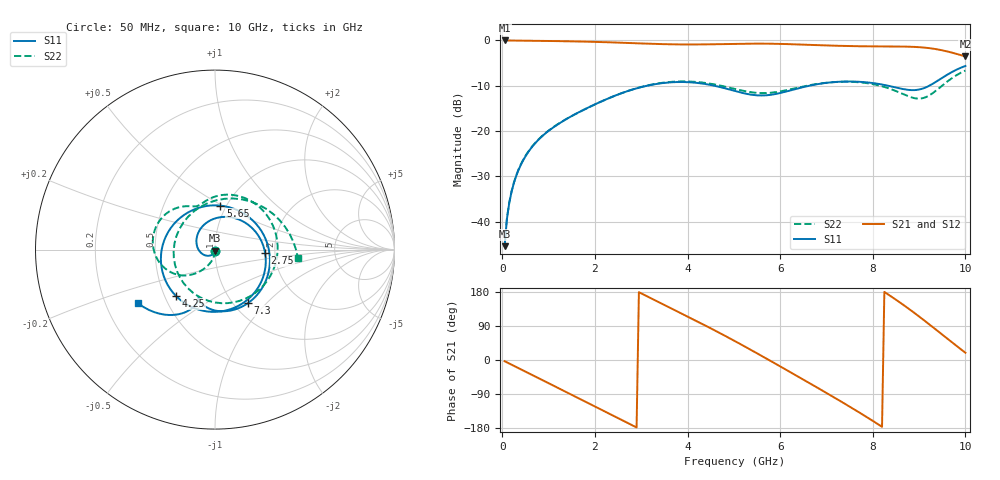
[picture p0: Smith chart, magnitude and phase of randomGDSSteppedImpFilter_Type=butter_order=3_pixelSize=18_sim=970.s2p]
! freq	dB(S11)	phase(S11)	dB(S12)	phase(S12)
!  dB(S21)	phase(S21)	dB(S22)	phase(S22)
!S-par simulation data
#  GHz  S  DB  R 50
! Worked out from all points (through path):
!   200 points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, 50 MHz to 10 GHz, reference 50 ohm
!   highest |S21| = -0.01 dB at 50 MHz (marker M1); lowest = -3.5 dB at 10 GHz (marker M2)
!   group delay of S21, straight-line fit = 189 ps
!   lowest |S11| = -45.4 dB at 50 MHz (marker M3), VSWR 1.01, Z = 50 - j0.534 ohm
!   |S11| at or under -10 dB: start of sweep to 3.129 GHz; 4.575 GHz to 6.632 GHz (2.057 GHz wide, 36.7 % of centre); 8.327 GHz to 9.221 GHz (894.1 MHz wide, 10.2 % of centre)
!   |S22| runs from -45.4 to -6.7 dB; largest |S21 - S12| = 0
!   S11 on the Smith chart (normalised r, x): 50 MHz: 1.00, -0.01; 2.75 GHz: 1.77, -0.08; 4.25 GHz: 0.57, -0.33; 5.65 GHz: 0.94, +0.49; 7.3 GHz: 1.16, -0.79; 10 GHz: 0.34, -0.28
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0.05  -45.44 -90.7  -0.01 -3.1  -0.01 -3.1  -45.36 -87.0
0.1  -39.43 -97.7  -0.01 -6.2  -0.01 -6.2  -39.31 -90.3
0.2  -33.43 -108.5  -0.02 -12.3  -0.02 -12.3  -33.31 -94.2
0.45  -26.49 -133.7  -0.05 -27.6  -0.05 -27.6  -26.40 -101.7
1.15  -18.87 155.4  -0.14 -70.4  -0.14 -70.4  -18.82 -118.0
1.75  -15.36 93.0  -0.26 -107.2  -0.26 -107.2  -15.37 -129.1
2.3  -12.76 37.7  -0.41 -141.1  -0.41 -141.1  -12.77 -141.2
2.75  -11.05 -4.3  -0.57 -168.8  -0.57 -168.8  -11.03 -154.2
3.4  -9.51 -60.0  -0.80 151.5  -0.80 151.5  -9.43 -177.1
4.25  -9.43 -130.1  -0.89 99.4  -0.89 99.4  -9.23 149.8
4.65  -10.17 -165.8  -0.83 74.1  -0.83 74.1  -9.85 135.3
5.05  -11.24 153.8  -0.75 48.1  -0.75 48.1  -10.78 123.2
5.65  -12.15 82.9  -0.71 7.4  -0.71 7.4  -11.63 110.8
6.15  -11.23 26.7  -0.81 -27.3  -0.81 -27.3  -10.95 96.8
6.7  -9.86 -20.5  -1.00 -65.7  -1.00 -65.7  -9.77 67.8
7.3  -9.12 -58.2  -1.20 -108.4  -1.20 -108.4  -9.14 21.8
7.85  -9.24 -84.5  -1.30 -149.1  -1.30 -149.1  -9.40 -30.9
8.35  -10.05 -102.3  -1.33 171.6  -1.33 171.6  -10.60 -89.3
8.8  -10.95 -108.9  -1.39 133.1  -1.39 133.1  -12.45 -159.3
9.2  -10.11 -108.6  -1.68 96.0  -1.68 96.0  -12.26 118.4
9.55  -7.94 -117.5  -2.29 62.0  -2.29 62.0  -9.56 53.8
10  -5.64 -145.0  -3.54 19.2  -3.54 19.2  -6.66 -5.9
